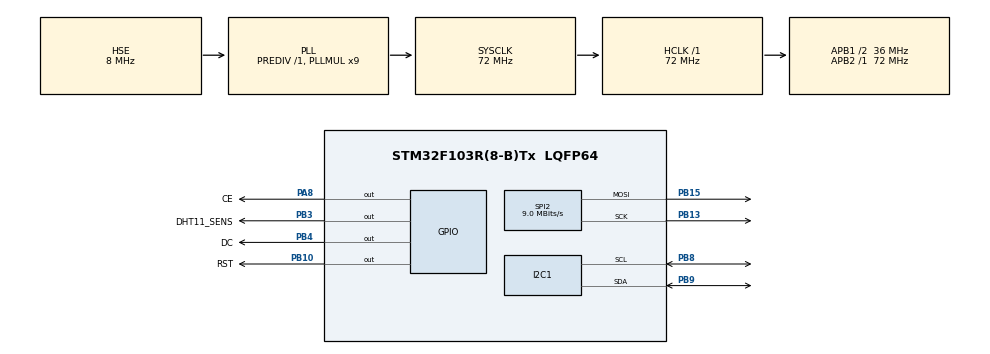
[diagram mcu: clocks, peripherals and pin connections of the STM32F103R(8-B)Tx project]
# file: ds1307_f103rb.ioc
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Dma.Request0=SPI2_TX
Dma.SPI2_TX.0.Direction=DMA_MEMORY_TO_PERIPH
Dma.SPI2_TX.0.Instance=DMA1_Channel5
Dma.SPI2_TX.0.MemDataAlignment=DMA_MDATAALIGN_BYTE
Dma.SPI2_TX.0.MemInc=DMA_MINC_ENABLE
Dma.SPI2_TX.0.Mode=DMA_NORMAL
Dma.SPI2_TX.0.PeriphDataAlignment=DMA_PDATAALIGN_BYTE
Dma.SPI2_TX.0.PeriphInc=DMA_PINC_DISABLE
Dma.SPI2_TX.0.Priority=DMA_PRIORITY_LOW
Mcu.Family=STM32F1
Mcu.Name=STM32F103R(8-B)Tx
Mcu.Package=LQFP64
NVIC.DMA1_Channel5_IRQn=true\:0\:0\:false\:false\:true\:false\:true\:true
NVIC.PriorityGroup=NVIC_PRIORITYGROUP_4
PA13.Mode=Serial_Wire
PA13.Signal=SYS_JTMS-SWDIO
PA14.Mode=Serial_Wire
PA14.Signal=SYS_JTCK-SWCLK
PA8.GPIO_Label=CE
PA8.Signal=GPIO_Output
PB10.GPIO_Label=RST
PB10.Signal=GPIO_Output
PB13.Mode=TX_Only_Simplex_Unidirect_Master
PB13.Signal=SPI2_SCK
PB15.Mode=TX_Only_Simplex_Unidirect_Master
PB15.Signal=SPI2_MOSI
PB3.GPIO_Label=DHT11_SENS
PB3.Signal=GPIO_Output
PB4.GPIO_Label=DC
PB4.Signal=GPIO_Output
PB8.Mode=I2C
PB8.Signal=I2C1_SCL
PB9.Mode=I2C
PB9.Signal=I2C1_SDA
PD0-OSC_IN.Mode=HSE-External-Oscillator
PD0-OSC_IN.Signal=RCC_OSC_IN
PD1-OSC_OUT.Mode=HSE-External-Oscillator
PD1-OSC_OUT.Signal=RCC_OSC_OUT
ProjectManager.HeapSize=0x200
ProjectManager.StackSize=0x400
ProjectManager.TargetToolchain=STM32CubeIDE
RCC.AHBFreq_Value=72000000
RCC.APB1CLKDivider=RCC_HCLK_DIV2
RCC.APB1Freq_Value=36000000
RCC.APB1TimFreq_Value=72000000
RCC.APB2Freq_Value=72000000
RCC.APB2TimFreq_Value=72000000
RCC.HCLKFreq_Value=72000000
RCC.PLLMUL=RCC_PLL_MUL9
RCC.PLLSourceVirtual=RCC_PLLSOURCE_HSE
RCC.RTCClockSelection=RCC_RTCCLKSOURCE_LSE
RCC.SYSCLKFreq_VALUE=72000000
RCC.SYSCLKSource=RCC_SYSCLKSOURCE_PLLCLK
RCC.USBFreq_Value=72000000
SPI2.BaudRatePrescaler=SPI_BAUDRATEPRESCALER_4
SPI2.CalculateBaudRate=9.0 MBits/s
SPI2.Direction=SPI_DIRECTION_2LINES
SPI2.Mode=SPI_MODE_MASTER
SPI2.VirtualType=VM_MASTER
TIM2.Prescaler=72-1
VP_TIM2_VS_ClockSourceINT.Mode=Internal
board=NUCLEO-F103RB

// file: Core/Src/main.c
/* USER CODE BEGIN Header */
/**
  ******************************************************************************
  * @file           : main.c
  * @brief          : Main program body
  ******************************************************************************
  * @attention
  *
  * Copyright (c) 2024 STMicroelectronics.
  * All rights reserved.
  *
  * This software is licensed under terms that can be found in the LICENSE file
  * in the root directory of this software component.
  * If no LICENSE file comes with this software, it is provided AS-IS.
  *
  ******************************************************************************
  */
/* USER CODE END Header */
#include "main.h"

/* USER CODE BEGIN Includes */
#include "ds1307.h"
#include "Nokia5110.h"
#include "stdio.h"
#include "DHT11.h"
#include "nokia5110_Text.h"
/* USER CODE END Includes */

I2C_HandleTypeDef hi2c1;

SPI_HandleTypeDef hspi2;
DMA_HandleTypeDef hdma_spi2_tx;

TIM_HandleTypeDef htim2;

/* USER CODE BEGIN PV */
DS1307_TIME_t time_tr;
extern uint8_t currentTime[7];

float durum=0,Humidity=0,Temperature=0;
uint16_t tempVal=0,humVal=0;
uint8_t dhtVal[2];
uint8_t mData[40];
uint16_t mTime1 = 0, mTime2 = 0;
uint16_t mbit = 0;
uint8_t  parityVal = 0, genParity = 0;
/* USER CODE END PV */

void SystemClock_Config(void);
static void MX_GPIO_Init(void);
static void MX_DMA_Init(void);
static void MX_I2C1_Init(void);
static void MX_SPI2_Init(void);
static void MX_TIM2_Init(void);

int main(void)
{

  /* MCU Configuration--------------------------------------------------------*/

  /* Reset of all peripherals, Initializes the Flash interface and the Systick. */
  HAL_Init();

  /* Configure the system clock */
  SystemClock_Config();

  /* Initialize all configured peripherals */
  MX_GPIO_Init();
  MX_DMA_Init();
  MX_I2C1_Init();
  MX_SPI2_Init();
  MX_TIM2_Init();
  /* USER CODE BEGIN 2 */
  HAL_TIM_Base_Start(&htim2);
 // setTime(20,25,8, 2, 26, 2, 24);
  Nokia5110_Init();
  /* USER CODE END 2 */

  /* Infinite loop */
  while (1)
  {

    /* USER CODE BEGIN 3 */
	  if (DHT11_Read())
	  {
		  Temperature=(float)tempVal;
		  Humidity=(float)humVal;
	  }

      getTime(&time_tr);
      HAL_Delay(400);

      Nokia5110_Text();
  }
  /* USER CODE END 3 */
}

void SystemClock_Config(void)
{
  RCC_OscInitTypeDef RCC_OscInitStruct = {0};
  RCC_ClkInitTypeDef RCC_ClkInitStruct = {0};

  /** Initializes the RCC Oscillators according to the specified parameters
  * in the RCC_OscInitTypeDef structure.
  */
  RCC_OscInitStruct.OscillatorType = RCC_OSCILLATORTYPE_HSE;
  RCC_OscInitStruct.HSEState = RCC_HSE_ON;
  RCC_OscInitStruct.HSEPredivValue = RCC_HSE_PREDIV_DIV1;
  RCC_OscInitStruct.HSIState = RCC_HSI_ON;
  RCC_OscInitStruct.PLL.PLLState = RCC_PLL_ON;
  RCC_OscInitStruct.PLL.PLLSource = RCC_PLLSOURCE_HSE;
  RCC_OscInitStruct.PLL.PLLMUL = RCC_PLL_MUL9;
  if (HAL_RCC_OscConfig(&RCC_OscInitStruct) != HAL_OK)
  {
    Error_Handler();
  }

  /** Initializes the CPU, AHB and APB buses clocks
  */
  RCC_ClkInitStruct.ClockType = RCC_CLOCKTYPE_HCLK|RCC_CLOCKTYPE_SYSCLK
                              |RCC_CLOCKTYPE_PCLK1|RCC_CLOCKTYPE_PCLK2;
  RCC_ClkInitStruct.SYSCLKSource = RCC_SYSCLKSOURCE_PLLCLK;
  RCC_ClkInitStruct.AHBCLKDivider = RCC_SYSCLK_DIV1;
  RCC_ClkInitStruct.APB1CLKDivider = RCC_HCLK_DIV2;
  RCC_ClkInitStruct.APB2CLKDivider = RCC_HCLK_DIV1;

  if (HAL_RCC_ClockConfig(&RCC_ClkInitStruct, FLASH_LATENCY_2) != HAL_OK)
  {
    Error_Handler();
  }
}

static void MX_I2C1_Init(void)
{

  hi2c1.Instance = I2C1;
  hi2c1.Init.ClockSpeed = 100000;
  hi2c1.Init.DutyCycle = I2C_DUTYCYCLE_2;
  hi2c1.Init.OwnAddress1 = 0;
  hi2c1.Init.AddressingMode = I2C_ADDRESSINGMODE_7BIT;
  hi2c1.Init.DualAddressMode = I2C_DUALADDRESS_DISABLE;
  hi2c1.Init.OwnAddress2 = 0;
  hi2c1.Init.GeneralCallMode = I2C_GENERALCALL_DISABLE;
  hi2c1.Init.NoStretchMode = I2C_NOSTRETCH_DISABLE;
  if (HAL_I2C_Init(&hi2c1) != HAL_OK)
  {
    Error_Handler();
  }

}

static void MX_SPI2_Init(void)
{

  /* SPI2 parameter configuration*/
  hspi2.Instance = SPI2;
  hspi2.Init.Mode = SPI_MODE_MASTER;
  hspi2.Init.Direction = SPI_DIRECTION_2LINES;
  hspi2.Init.DataSize = SPI_DATASIZE_8BIT;
  hspi2.Init.CLKPolarity = SPI_POLARITY_LOW;
  hspi2.Init.CLKPhase = SPI_PHASE_1EDGE;
  hspi2.Init.NSS = SPI_NSS_SOFT;
  hspi2.Init.BaudRatePrescaler = SPI_BAUDRATEPRESCALER_4;
  hspi2.Init.FirstBit = SPI_FIRSTBIT_MSB;
  hspi2.Init.TIMode = SPI_TIMODE_DISABLE;
  hspi2.Init.CRCCalculation = SPI_CRCCALCULATION_DISABLE;
  hspi2.Init.CRCPolynomial = 10;
  if (HAL_SPI_Init(&hspi2) != HAL_OK)
  {
    Error_Handler();
  }

}

static void MX_TIM2_Init(void)
{

  TIM_ClockConfigTypeDef sClockSourceConfig = {0};
  TIM_MasterConfigTypeDef sMasterConfig = {0};

  htim2.Instance = TIM2;
  htim2.Init.Prescaler = 72-1;
  htim2.Init.CounterMode = TIM_COUNTERMODE_UP;
  htim2.Init.Period = 65535;
  htim2.Init.ClockDivision = TIM_CLOCKDIVISION_DIV1;
  htim2.Init.AutoReloadPreload = TIM_AUTORELOAD_PRELOAD_DISABLE;
  if (HAL_TIM_Base_Init(&htim2) != HAL_OK)
  {
    Error_Handler();
  }
  sClockSourceConfig.ClockSource = TIM_CLOCKSOURCE_INTERNAL;
  if (HAL_TIM_ConfigClockSource(&htim2, &sClockSourceConfig) != HAL_OK)
  {
    Error_Handler();
  }
  sMasterConfig.MasterOutputTrigger = TIM_TRGO_RESET;
  sMasterConfig.MasterSlaveMode = TIM_MASTERSLAVEMODE_DISABLE;
  if (HAL_TIMEx_MasterConfigSynchronization(&htim2, &sMasterConfig) != HAL_OK)
  {
    Error_Handler();
  }

}

static void MX_DMA_Init(void)
{

  /* DMA controller clock enable */
  __HAL_RCC_DMA1_CLK_ENABLE();

  /* DMA interrupt init */
  /* DMA1_Channel5_IRQn interrupt configuration */
  HAL_NVIC_SetPriority(DMA1_Channel5_IRQn, 0, 0);
  HAL_NVIC_EnableIRQ(DMA1_Channel5_IRQn);

}

static void MX_GPIO_Init(void)
{
  GPIO_InitTypeDef GPIO_InitStruct = {0};

  /* GPIO Ports Clock Enable */
  __HAL_RCC_GPIOD_CLK_ENABLE();
  __HAL_RCC_GPIOB_CLK_ENABLE();
  __HAL_RCC_GPIOA_CLK_ENABLE();

  /*Configure GPIO pin Output Level */
  HAL_GPIO_WritePin(GPIOB, RST_Pin|DHT11_SENS_Pin|DC_Pin, GPIO_PIN_RESET);

  /*Configure GPIO pin Output Level */
  HAL_GPIO_WritePin(CE_GPIO_Port, CE_Pin, GPIO_PIN_RESET);

  /*Configure GPIO pins : RST_Pin DHT11_SENS_Pin DC_Pin */
  GPIO_InitStruct.Pin = RST_Pin|DHT11_SENS_Pin|DC_Pin;
  GPIO_InitStruct.Mode = GPIO_MODE_OUTPUT_PP;
  GPIO_InitStruct.Pull = GPIO_NOPULL;
  GPIO_InitStruct.Speed = GPIO_SPEED_FREQ_LOW;
  HAL_GPIO_Init(GPIOB, &GPIO_InitStruct);

  /*Configure GPIO pin : CE_Pin */
  GPIO_InitStruct.Pin = CE_Pin;
  GPIO_InitStruct.Mode = GPIO_MODE_OUTPUT_PP;
  GPIO_InitStruct.Pull = GPIO_NOPULL;
  GPIO_InitStruct.Speed = GPIO_SPEED_FREQ_LOW;
  HAL_GPIO_Init(CE_GPIO_Port, &GPIO_InitStruct);

}

void Error_Handler(void)
{
  __disable_irq();
  while (1)
  {
  }
}
